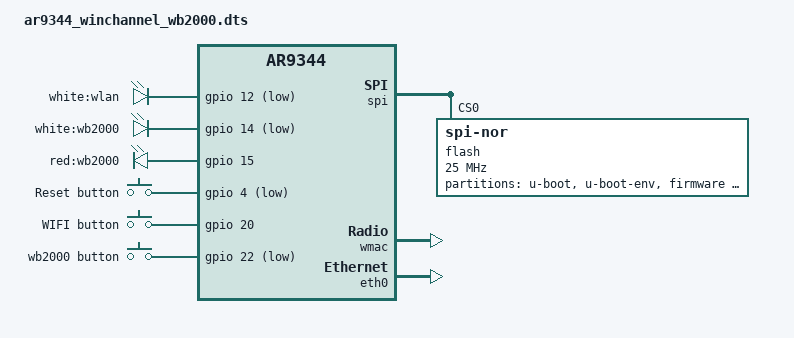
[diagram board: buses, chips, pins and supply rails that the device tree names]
// SPDX-License-Identifier: GPL-2.0-or-later OR MIT

#include "ar9344.dtsi"

#include <dt-bindings/gpio/gpio.h>
#include <dt-bindings/input/input.h>

/ {
	aliases {
		led-boot = &led_wb2000_red;
		led-failsafe = &led_wb2000_red;
		led-running = &led_wb2000_white;
		led-upgrade = &led_wb2000_red;
	};

	leds {
		compatible = "gpio-leds";

		wlan {
			label = "white:wlan";
			gpios = <&gpio 12 GPIO_ACTIVE_LOW>;
			linux,default-trigger = "phy1tpt";
		};

		led_wb2000_white: wb2000_white {
			label = "white:wb2000";
			gpios = <&gpio 14 GPIO_ACTIVE_LOW>;
		};

		led_wb2000_red: wb2000_red {
			label = "red:wb2000";
			gpios = <&gpio 15 GPIO_ACTIVE_HIGH>;
			panic-indicator;
		};
	};

	keys {
		compatible = "gpio-keys";

		reset {
			label = "Reset button";
			linux,code = <KEY_RESTART>;
			gpios = <&gpio 4 GPIO_ACTIVE_LOW>;
			debounce-interval = <60>;
		};

		wifi {
			label = "WIFI button";
			linux,code = <KEY_RFKILL>;
			gpios = <&gpio 20 GPIO_ACTIVE_HIGH>;
			debounce-interval = <60>;
		};

		wb2000 {
			label = "wb2000 button";
			linux,code = <BTN_0>;
			gpios = <&gpio 22 GPIO_ACTIVE_LOW>;
			debounce-interval = <60>;
		};
	};
};

&spi {
	status = "okay";

	flash@0 {
		compatible = "jedec,spi-nor";
		reg = <0>;
		spi-max-frequency = <25000000>;

		partitions {
			compatible = "fixed-partitions";
			#address-cells = <1>;
			#size-cells = <1>;

			partition@0 {
				label = "u-boot";
				reg = <0x0 0x40000>;
				read-only;
			};

			partition@40000 {
				label = "u-boot-env";
				reg = <0x40000 0x10000>;
				read-only;
			};

			partition@50000 {
				label = "firmware";
				reg = <0x50000 0xfa0000>;
				compatible = "denx,uimage";
			};

			partition@ff0000 {
				label = "art";
				reg = <0xff0000 0x10000>;
				read-only;

				nvmem-layout {
					compatible = "fixed-layout";
					#address-cells = <1>;
					#size-cells = <1>;

					macaddr_art_1002: macaddr@1002 {
						compatible = "mac-base";
						reg = <0x1002 0x6>;
						#nvmem-cell-cells = <1>;
					};
				};
			};	
		};
	};
};

&wmac {
	status = "okay";
	mtd-cal-data = <&art 0x1000>;
	mtd-mac-address = <&art 0x1002>;
};

&eth0 {
	status = "okay";

	pll-data = <0xe000000 0x04000101 0x04001313>;

	nvmem-cells = <&macaddr_art_1002 2>;
	nvmem-cell-names = "mac-address";
};

